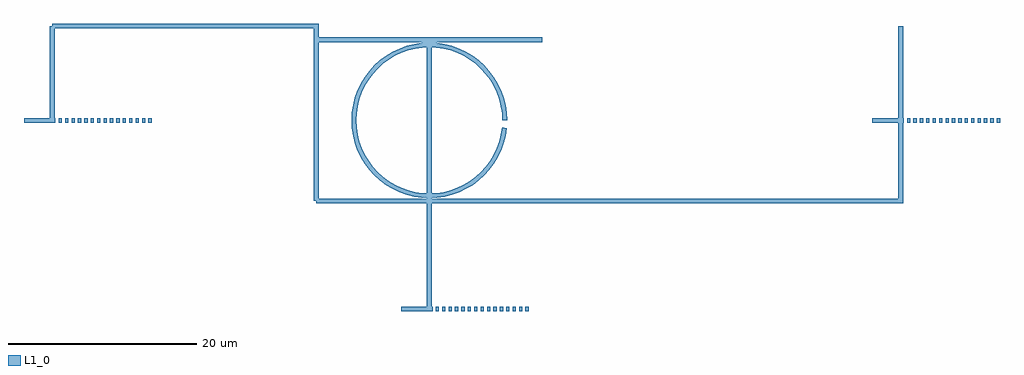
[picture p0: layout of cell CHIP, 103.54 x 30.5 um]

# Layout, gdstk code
import gdstk
lib = gdstk.Library(unit=1e-6, precision=1e-09)
def R(c, l, rs):  # rectangles x0, y0, x1, y1
    for r in rs: c.add(gdstk.rectangle(r[:2], r[2:], *l))
def A(c, l, x, y, w, h, nx, ny, dx, dy):  # array of equal rectangles
    R(c, l, [(x+i*dx, y+j*dy, x+i*dx+w, y+j*dy+h) for i in range(nx) for j in range(ny)])
L1_0 = (1, 0)

chip = lib.new_cell('CHIP')
A(chip, L1_0, 40, -20.25, 0.34, 0.5, 16, 1, 0.68, 0)
A(chip, L1_0, 0, -0.25, 0.34, 0.5, 16, 1, 0.68, 0)
A(chip, L1_0, 90, -0.25, 0.34, 0.5, 16, 1, 0.68, 0)
chip.add(gdstk.FlexPath([(0,0),(0,10)], 0.5, ends="flush", simple_path=True, layer=1, datatype=0))  # L1_0
chip.add(gdstk.FlexPath([(90,0),(90,10)], 0.5, ends="flush", simple_path=True, layer=1, datatype=0))  # L1_0
chip.add(gdstk.FlexPath([(40,-20),(40,-10)], 0.5, ends="flush", simple_path=True, layer=1, datatype=0))  # L1_0
chip.add(gdstk.FlexPath([(48,0),(47.961,0.784),(47.846,1.561),(47.656,2.322),(47.391,3.061),(47.055,3.771),(46.652,4.445),(46.184,5.075),(45.657,5.657),(45.075,6.184),(44.445,6.652),(43.771,7.055),(43.061,7.391),(42.322,7.656),(41.561,7.846),(40.784,7.961),(40,8),(39.216,7.961),(38.439,7.846),(37.678,7.656),(36.939,7.391),(36.229,7.055),(35.555,6.652),(34.925,6.184),(34.343,5.657),(33.816,5.075),(33.348,4.445),(32.945,3.771),(32.609,3.061),(32.344,2.322),(32.154,1.561),(32.039,0.784),(32,0),(32.039,-0.784),(32.154,-1.561),(32.344,-2.322),(32.609,-3.061),(32.945,-3.771),(33.348,-4.445),(33.816,-5.075),(34.343,-5.657),(34.925,-6.184),(35.555,-6.652),(36.229,-7.055),(36.939,-7.391),(37.678,-7.656),(38.439,-7.846),(39.216,-7.961),(40,-8),(40.784,-7.961),(41.561,-7.846),(42.322,-7.656),(43.061,-7.391),(43.771,-7.055),(44.445,-6.652),(45.075,-6.184),(45.657,-5.657),(46.184,-5.075),(46.652,-4.445),(47.055,-3.771),(47.391,-3.061),(47.656,-2.322),(47.846,-1.561),(47.961,-0.784)], 0.5, ends="flush", simple_path=True, layer=1, datatype=0))  # L1_0
chip.add(gdstk.FlexPath([(28,-8.55),(52,-8.55)], 0.5, ends="flush", simple_path=True, layer=1, datatype=0))  # L1_0
chip.add(gdstk.FlexPath([(28,8.55),(52,8.55)], 0.5, ends="flush", simple_path=True, layer=1, datatype=0))  # L1_0
chip.add(gdstk.FlexPath([(0,10),(28,10),(28,-8.55)], 0.5, ends="flush", simple_path=True, layer=1, datatype=0))  # L1_0
chip.add(gdstk.FlexPath([(52,-8.55),(90,-8.55),(90,10)], 0.5, ends="flush", simple_path=True, layer=1, datatype=0))  # L1_0
chip.add(gdstk.FlexPath([(40,8.55),(40,-10)], 0.5, ends="flush", simple_path=True, layer=1, datatype=0))  # L1_0
chip.add(gdstk.FlexPath([(-3,0),(0,0)], 0.5, ends="flush", simple_path=True, layer=1, datatype=0))  # L1_0
chip.add(gdstk.FlexPath([(87,0),(90,0)], 0.5, ends="flush", simple_path=True, layer=1, datatype=0))  # L1_0
chip.add(gdstk.FlexPath([(37,-20),(40,-20)], 0.5, ends="flush", simple_path=True, layer=1, datatype=0))  # L1_0

lib.write_gds('CHIP.gds')
